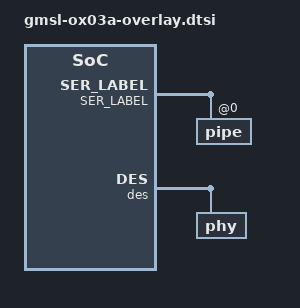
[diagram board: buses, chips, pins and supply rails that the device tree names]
// SPDX-License-Identifier: GPL-2.0
/*
 * Copyright (C) 2023 Analog Devices Inc.
 */

#if defined(DES_CH_INDEX)
#define DES_CH_SECOND_INDEX CONCAT(1, DES_CH_INDEX)
#endif

#if defined(SER_INDEX)
#define SER_LABEL CONCAT(ser_, SER_INDEX)
#endif

#if !defined(SER_LABEL)
#error
#endif

#define SER_MFP0_PWDN_LABEL CONCAT(SER_LABEL, _mfp0_pwdn)
#define SER_MFP4_RCLK_LABEL CONCAT(SER_LABEL, _mfp4_rclk)

&SER_LABEL {
	pipe@0 {
		maxim,dbl12;
		maxim,soft-bpp = <24>;
	};

	pins {
		SER_MFP0_PWDN_LABEL: SER_MFP0_PWDN_LABEL {
			pins = "mfp0";
			function = "gpio";
			bias-pull-up;
		};

		SER_MFP4_RCLK_LABEL: SER_MFP4_RCLK_LABEL {
			pins = "mfp4";
			function = "rclkout";
			slew-rate = <0>;
			maxim,rclkout-clock = <0>;
		};
	};
};

&des {
	phy@GMSL_DES_PHY {
		maxim,alt-mem-map12;
	};
};

#undef SER_MFP0_PWDN_LABEL
#undef SER_MFP4_RCLK_LABEL

#undef SER_INDEX
#undef SER_LABEL
#undef DES_CH_INDEX
